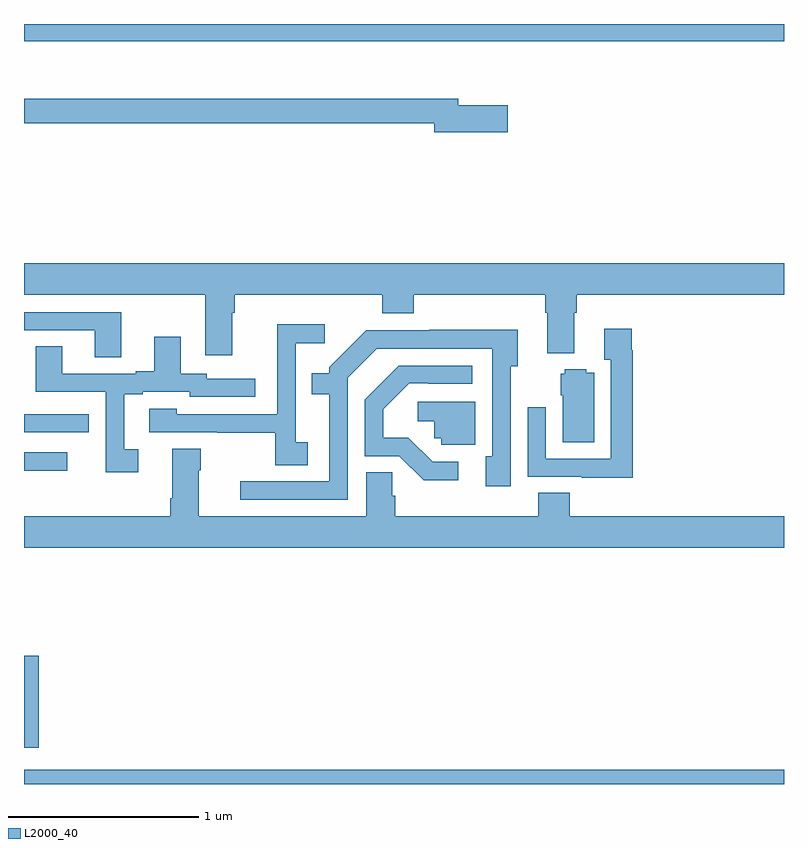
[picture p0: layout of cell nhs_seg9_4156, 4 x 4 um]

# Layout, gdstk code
import gdstk
lib = gdstk.Library(unit=1e-6, precision=1e-09)
def R(c, l, rs):  # rectangles x0, y0, x1, y1
    for r in rs: c.add(gdstk.rectangle(r[:2], r[2:], *l))
def P(c, l, *ps):  # polygons
    for p in ps: c.add(gdstk.Polygon(p, *l))
L2000_40 = (2000, 40)

nhs_seg9_4156 = lib.new_cell('nhs_seg9_4156')
R(nhs_seg9_4156, L2000_40, [(349,1204.5,353,1204.576), (349,1204.691,349.078,1205.176), (349,1206.148,349.228,1206.246), (349,1208.408,353,1208.5)])
P(nhs_seg9_4156, L2000_40, [(351.547,1208.073),(351.286,1208.073),(351.286,1208.107),(349,1208.107),(349,1207.978),(351.158,1207.978),(351.158,1207.931),(351.547,1207.931)],
  [(350.095,1206.98),(350.108,1206.98),(350.108,1207.076),(350.885,1207.076),(350.885,1206.977),(351.05,1206.977),(351.05,1207.076),(351.743,1207.076),(351.743,1206.98),(351.755,1206.98),(351.755,1206.767),(351.895,1206.767),(351.895,1206.98),(351.908,1206.98),(351.908,1207.076),(353,1207.076),(353,1207.24),(349,1207.24),(349,1207.076),(349.955,1207.076),(349.955,1206.756),(350.095,1206.756)],
  [(349.513,1206.984),(349,1206.984),(349,1206.888),(349.373,1206.888),(349.373,1206.745),(349.513,1206.745)],
  [(350.494,1206.3),(350.43,1206.3),(350.43,1206.821),(350.584,1206.821),(350.584,1206.919),(350.332,1206.919),(350.332,1206.68),(350.334,1206.68),(350.334,1206.447),(349.803,1206.447),(349.803,1206.475),(349.659,1206.475),(349.659,1206.351),(350.017,1206.351),(350.017,1206.349),(350.322,1206.349),(350.322,1206.178),(350.494,1206.178)],
  [(352.205,1206.782),(352.198,1206.782),(352.198,1206.895),(352.055,1206.895),(352.055,1206.734),(352.089,1206.734),(352.089,1206.213),(351.747,1206.213),(351.747,1206.484),(351.651,1206.484),(351.651,1206.117),(351.935,1206.117),(351.935,1206.113),(352.205,1206.113)],
  [(350.703,1206.639),(350.856,1206.792),(351.465,1206.792),(351.465,1206.226),(351.431,1206.226),(351.431,1206.066),(351.561,1206.066),(351.561,1206.698),(351.598,1206.698),(351.598,1206.89),(351.133,1206.89),(351.133,1206.888),(350.802,1206.888),(350.607,1206.693),(350.607,1206.661),(350.515,1206.661),(350.515,1206.552),(350.606,1206.552),(350.606,1206.093),(350.139,1206.093),(350.139,1205.997),(350.703,1205.997)],
  [(349.6,1206.261),(349.528,1206.261),(349.528,1206.552),(349.624,1206.552),(349.624,1206.564),(349.872,1206.564),(349.872,1206.537),(350.218,1206.537),(350.218,1206.633),(349.962,1206.633),(349.962,1206.66),(349.825,1206.66),(349.825,1206.853),(349.685,1206.853),(349.685,1206.673),(349.589,1206.673),(349.589,1206.66),(349.201,1206.66),(349.201,1206.803),(349.061,1206.803),(349.061,1206.564),(349.431,1206.564),(349.431,1206.141),(349.6,1206.141)],
  [(351.286,1206.195),(351.15,1206.195),(351.023,1206.322),(350.89,1206.322),(350.89,1206.472),(351.027,1206.609),(351.127,1206.609),(351.127,1206.606),(351.358,1206.606),(351.358,1206.702),(350.972,1206.702),(350.793,1206.523),(350.793,1206.225),(350.976,1206.225),(351.104,1206.098),(351.286,1206.098)],
  [(352,1206.664),(351.96,1206.664),(351.96,1206.682),(351.846,1206.682),(351.846,1206.66),(351.824,1206.66),(351.824,1206.546),(351.836,1206.546),(351.836,1206.298),(352,1206.298)],
  [(351.376,1206.513),(351.072,1206.513),(351.072,1206.41),(351.159,1206.41),(351.159,1206.321),(351.195,1206.321),(351.195,1206.285),(351.376,1206.285)],
  [(349.342,1206.446),(349.229,1206.446),(349.229,1206.447),(349,1206.447),(349,1206.351),(349.342,1206.351)],
  [(353,1205.908),(351.872,1205.908),(351.872,1206.032),(351.707,1206.032),(351.707,1205.908),(350.954,1205.908),(350.954,1206.018),(350.939,1206.018),(350.939,1206.14),(350.801,1206.14),(350.801,1205.908),(349.921,1205.908),(349.921,1206.152),(349.929,1206.152),(349.929,1206.265),(349.781,1206.265),(349.781,1206.004),(349.769,1206.004),(349.769,1205.908),(349,1205.908),(349,1205.744),(353,1205.744)])

lib.write_gds('nhs_seg9_4156.gds')
